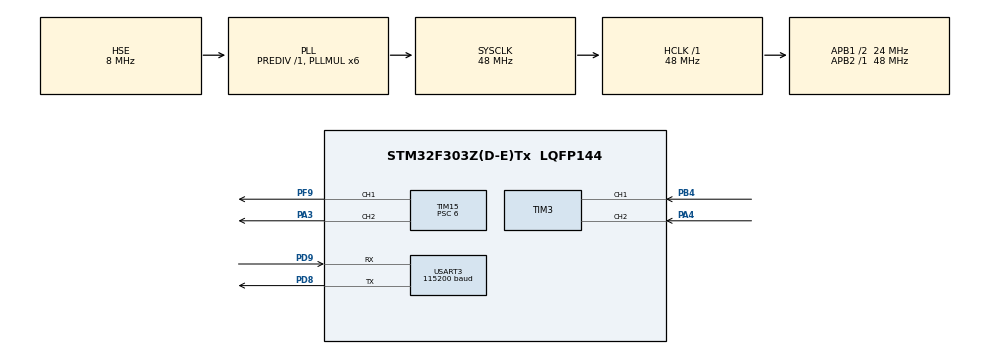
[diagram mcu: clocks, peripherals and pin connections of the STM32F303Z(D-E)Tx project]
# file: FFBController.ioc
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Mcu.Family=STM32F3
Mcu.Name=STM32F303Z(D-E)Tx
Mcu.Package=LQFP144
NVIC.PriorityGroup=NVIC_PRIORITYGROUP_4
PA3.Signal=S_TIM15_CH2
PA4.Signal=S_TIM3_CH2
PB4.Signal=S_TIM3_CH1
PD8.Mode=Asynchronous
PD8.Signal=USART3_TX
PD9.Mode=Asynchronous
PD9.Signal=USART3_RX
PF0-OSC_IN.Mode=HSE-External-Clock-Source
PF0-OSC_IN.Signal=RCC_OSC_IN
PF9.Signal=S_TIM15_CH1
ProjectManager.HeapSize=0x200
ProjectManager.StackSize=0x400
ProjectManager.TargetToolchain=STM32CubeIDE
RCC.AHBFreq_Value=48000000
RCC.APB1CLKDivider=RCC_HCLK_DIV2
RCC.APB1Freq_Value=24000000
RCC.APB1TimFreq_Value=48000000
RCC.APB2Freq_Value=48000000
RCC.APB2TimFreq_Value=48000000
RCC.CortexFreq_Value=48000000
RCC.HCLKFreq_Value=48000000
RCC.HSE_VALUE=8000000
RCC.HSI_VALUE=8000000
RCC.LSE_VALUE=32768
RCC.PLLMUL=RCC_PLL_MUL6
RCC.PLLSourceVirtual=RCC_PLLSOURCE_HSE
RCC.SYSCLKFreq_VALUE=48000000
RCC.SYSCLKSourceVirtual=RCC_SYSCLKSOURCE_PLLCLK
RCC.TIM15Selection=RCC_TIM15CLK_PLLCLK
RCC.TIM34Selection=RCC_TIM34CLK_PLLCLK
RCC.USBFreq_Value=48000000
RCC.Usart3ClockSelection=RCC_USART3CLKSOURCE_HSI
SH.S_TIM15_CH1.0=TIM15_CH1,PWM Generation1 CH1
SH.S_TIM15_CH2.0=TIM15_CH2,PWM Generation2 CH2
SH.S_TIM3_CH1.0=TIM3_CH1,Encoder_Interface
SH.S_TIM3_CH2.0=TIM3_CH2,Encoder_Interface
TIM15.AutoReloadPreload=TIM_AUTORELOAD_PRELOAD_ENABLE
TIM15.Channel-PWM\ Generation1\ CH1=TIM_CHANNEL_1
TIM15.Channel-PWM\ Generation2\ CH2=TIM_CHANNEL_2
TIM15.Period=999
TIM15.Prescaler=6
TIM3.EncoderMode=TIM_ENCODERMODE_TI12
TIM3.IC1Filter=15
TIM3.IC2Filter=15
USART3.BaudRate=115200
USART3.VirtualMode-Asynchronous=VM_ASYNC
board=custom

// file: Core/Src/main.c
/* USER CODE BEGIN Header */
/**
  ******************************************************************************
  * @file           : main.c
  * @brief          : Main program body
  ******************************************************************************
  * @attention
  *
  * Copyright (c) 2022 STMicroelectronics.
  * All rights reserved.
  *
  * This software is licensed under terms that can be found in the LICENSE file
  * in the root directory of this software component.
  * If no LICENSE file comes with this software, it is provided AS-IS.
  *
  ******************************************************************************
  */
/* USER CODE END Header */
#include "main.h"
#include "tim.h"
#include "usart.h"
#include "gpio.h"

/* USER CODE BEGIN Includes */
#include "motor.h"
#include "myprint.h"

#include "myusb.h"
#include "adc.h"
#include "driving_peripherals.h"
#include "effect_system.h"
/* USER CODE END Includes */

/* USER CODE BEGIN PD */

#define PUTCHAR_PROTOTYPE int __io_putchar(int ch)

/* USER CODE END PD */

void SystemClock_Config(void);

int main(void)
{
  /* USER CODE BEGIN 1 */
/*	  struct Effect spring_effect = {0};

	  spring_effect.condition.negative_coefficient = -0.075;
	  spring_effect.condition.positive_coefficient = 0.075;
	  spring_effect.effect_block.gain = 100;
	  spring_effect.effect_block.effect_type = ET_Spring;

	  uint16_t spring_effect_index = ES_AddEffect(spring_effect);
	  ES_StartEffect(spring_effect_index);

	  struct Effect damper_effect = {0};

	  damper_effect.condition.negative_coefficient = -0.5;
	  damper_effect.condition.positive_coefficient = 0.5;
	  damper_effect.effect_block.gain = 100;
	  damper_effect.effect_block.effect_type = ET_Damper;

	  uint16_t damper_effect_index = ES_AddEffect(damper_effect);
	  ES_StartEffect(damper_effect_index);*/

	  struct Effect constant_force_effect = {0};

	  constant_force_effect.constant_force.magnitude = 200;
	  constant_force_effect.effect_block.gain = 100;
	  constant_force_effect.effect_block.effect_type = ET_ConstantForce;

	  uint16_t constant_force_effect_index = ES_AddEffect(constant_force_effect);
	  ES_StartEffect(constant_force_effect_index);
  /* USER CODE END 1 */

  /* MCU Configuration--------------------------------------------------------*/

  /* Reset of all peripherals, Initializes the Flash interface and the Systick. */
  HAL_Init();

  /* Configure the system clock */
  SystemClock_Config();

  /* Initialize all configured peripherals */
  MX_GPIO_Init();
  MX_USART3_UART_Init();
  MX_TIM3_Init();
  MX_TIM15_Init();
  /* USER CODE BEGIN 2 */

  //Start rotary encoder
  HAL_TIM_Encoder_Start(&htim3, TIM_CHANNEL_ALL);

  Motor_Start();

  //Initialize pedals/peripherals
  ADC_Init();

  //Find zero position

  myprint("Starting USB...\n\r");
  myusb_Initialize();

  //uint8_t direction = 0; //0 = right, 1 = left
  //volatile int16_t rotation_value = 0;

  /* USER CODE END 2 */

  /* Infinite loop */
  /* USER CODE BEGIN WHILE */
  while (1)
  {
/*
	  rotation_value = htim3.Instance->CNT;

	  if ((int16_t)htim3.Instance->CNT < 0)
	  {
		  direction = 0;
		  rotation_value = rotation_value * -1;
	  }
	  else
	  {
		  direction = 1;
	  }

	  rotation_value = rotation_value * 0.075;

	  if (rotation_value > 600) rotation_value = 600;

	  //myprint_dec(rotation_value);

	  Motor_SetForce(rotation_value);
	  Motor_SetDirection(direction);
*/
	  report.members.steering = htim3.Instance->CNT;

	  report.members.throttle 	= Pedal_GetAxisValue(throttle);
	  report.members.brake 		= Pedal_GetAxisValue(brake);
	  report.members.clutch		= Pedal_GetAxisValue(clutch);
	  report.members.handbrake	= Pedal_GetAxisValue(handbrake);

    /* USER CODE END WHILE */

  }
}

void SystemClock_Config(void)
{
  RCC_OscInitTypeDef RCC_OscInitStruct = {0};
  RCC_ClkInitTypeDef RCC_ClkInitStruct = {0};
  RCC_PeriphCLKInitTypeDef PeriphClkInit = {0};

  /** Initializes the RCC Oscillators according to the specified parameters
  * in the RCC_OscInitTypeDef structure.
  */
  RCC_OscInitStruct.OscillatorType = RCC_OSCILLATORTYPE_HSI|RCC_OSCILLATORTYPE_HSE;
  RCC_OscInitStruct.HSEState = RCC_HSE_BYPASS;
  RCC_OscInitStruct.HSIState = RCC_HSI_ON;
  RCC_OscInitStruct.HSICalibrationValue = RCC_HSICALIBRATION_DEFAULT;
  RCC_OscInitStruct.PLL.PLLState = RCC_PLL_ON;
  RCC_OscInitStruct.PLL.PLLSource = RCC_PLLSOURCE_HSE;
  RCC_OscInitStruct.PLL.PLLMUL = RCC_PLL_MUL6;
  RCC_OscInitStruct.PLL.PREDIV = RCC_PREDIV_DIV1;
  if (HAL_RCC_OscConfig(&RCC_OscInitStruct) != HAL_OK)
  {
    Error_Handler();
  }

  /** Initializes the CPU, AHB and APB buses clocks
  */
  RCC_ClkInitStruct.ClockType = RCC_CLOCKTYPE_HCLK|RCC_CLOCKTYPE_SYSCLK
                              |RCC_CLOCKTYPE_PCLK1|RCC_CLOCKTYPE_PCLK2;
  RCC_ClkInitStruct.SYSCLKSource = RCC_SYSCLKSOURCE_PLLCLK;
  RCC_ClkInitStruct.AHBCLKDivider = RCC_SYSCLK_DIV1;
  RCC_ClkInitStruct.APB1CLKDivider = RCC_HCLK_DIV2;
  RCC_ClkInitStruct.APB2CLKDivider = RCC_HCLK_DIV1;

  if (HAL_RCC_ClockConfig(&RCC_ClkInitStruct, FLASH_LATENCY_1) != HAL_OK)
  {
    Error_Handler();
  }
  PeriphClkInit.PeriphClockSelection = RCC_PERIPHCLK_USART3|RCC_PERIPHCLK_TIM15
                              |RCC_PERIPHCLK_TIM34|RCC_PERIPHCLK_USB|RCC_PERIPHCLK_ADC34;
  PeriphClkInit.Usart3ClockSelection = RCC_USART3CLKSOURCE_HSI;
  PeriphClkInit.USBClockSelection = RCC_USBCLKSOURCE_PLLCLK;
  PeriphClkInit.Tim15ClockSelection = RCC_TIM15CLK_PLLCLK;
  PeriphClkInit.Tim34ClockSelection = RCC_TIM34CLK_PLLCLK;
  PeriphClkInit.Adc34ClockSelection = RCC_ADC34PLLCLK_DIV2;
  if (HAL_RCCEx_PeriphCLKConfig(&PeriphClkInit) != HAL_OK)
  {
    Error_Handler();
  }
}

/* USER CODE BEGIN 4 */
//RCC_PERIPHCLK_USB | RCC_PERIPHCLK_ADC34
//PeriphClkInit.Adc34ClockSelection = RCC_ADC34PLLCLK_DIV2;

/* USER CODE END 4 */

void Error_Handler(void)
{
  __disable_irq();
  while (1)
  {
  }
}
